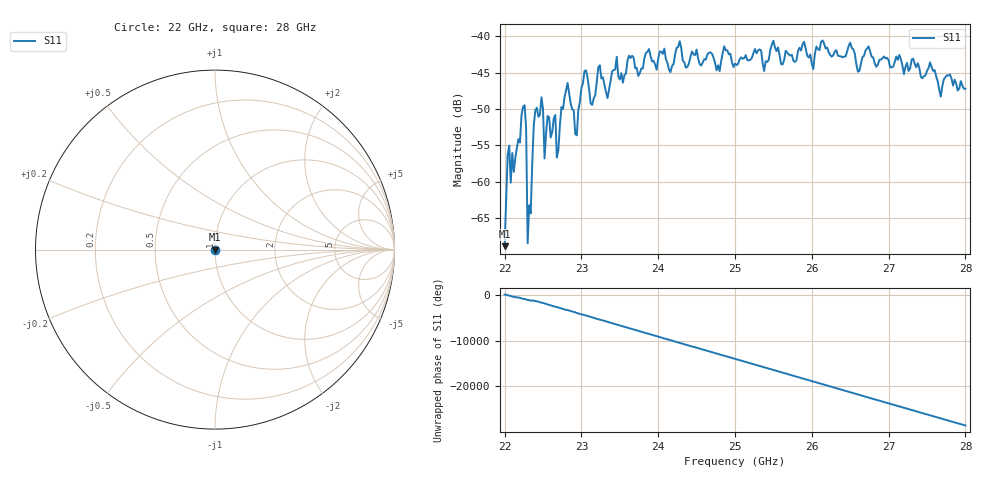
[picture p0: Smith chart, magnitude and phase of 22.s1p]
#  HZ  S  RI  R  50.00
! Rohde & Schwarz ZVA40 4Ports - Version 3.90 - 1145.1110k42 SN: 100403
! Date: 2023-10-04 06:02:05
! Measurement: S12
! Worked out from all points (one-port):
!   301 points, 22 GHz to 28 GHz, reference 50 ohm
!   lowest |S11| = -68.8 dB at 22 GHz (marker M1), VSWR 1.00, Z = 50 + j0.0144 ohm
!   |S11| at or under -10 dB: start of sweep to end of sweep
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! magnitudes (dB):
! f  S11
! 22 GHz  -68.8
! 22.04 GHz  -56.3
! 22.08 GHz  -60.1
! 22.24 GHz  -49.7
! 22.28 GHz  -52.6
! 22.3 GHz  -68.4
! 22.4 GHz  -50.2
! 22.48 GHz  -48.4
! 22.52 GHz  -56.8
! 22.56 GHz  -51.0
! 22.66 GHz  -50.8
! 22.68 GHz  -56.6
! 22.76 GHz  -50.0
! 22.82 GHz  -46.4
! 22.94 GHz  -53.6
! 23.04 GHz  -44.8
! 23.14 GHz  -49.4
! 23.24 GHz  -44.0
! 23.34 GHz  -48.5
! 23.46 GHz  -42.8
! 23.5 GHz  -46.0
! 24.26 GHz  -41.5
! 25 GHz  -43.8
! 25.76 GHz  -43.4
! 26.5 GHz  -40.9
! 26.6 GHz  -44.9
! 27.26 GHz  -44.8
! 28 GHz  -47.2
